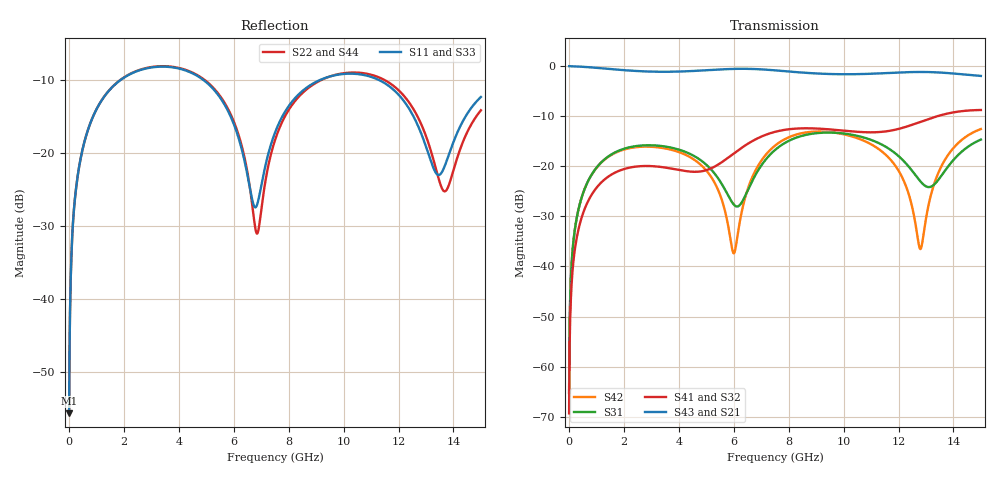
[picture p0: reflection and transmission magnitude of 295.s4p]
! Created with skrf 1.8.0 (http://scikit-rf.org).
# GHz S RI R 50.0
!freq ReS11 ImS11 ReS12 ImS12 ReS13 ImS13
! ReS14 ImS14
! ReS21 ImS21 ReS22 ImS22 ReS23 ImS23
! ReS24 ImS24
! ReS31 ImS31 ReS32 ImS32 ReS33 ImS33
! ReS34 ImS34
! ReS41 ImS41 ReS42 ImS42 ReS43 ImS43
! ReS44 ImS44
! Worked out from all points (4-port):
!   2499 points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, 5 MHz to 15 GHz, reference 50 ohm
!   strongest paths, dB at 5 MHz, 3.476 GHz, 7.19 GHz, 11.1 GHz, 15 GHz:
!     S43: 0.0, -1.1, -0.7, -1.5, -2.0
!     S21: 0.0, -1.1, -0.7, -1.5, -2.0
!     S41: -69.3, -20.2, -13.7, -13.2, -8.8
!     S32: -69.3, -20.2, -13.7, -13.3, -8.8
!     S31: -65.3, -16.0, -18.5, -14.9, -14.7
!     S42: -65.3, -16.4, -17.5, -15.9, -12.6
!   lowest |S11| = -55.6 dB at 5 MHz (marker M1), VSWR 1.00, Z = 50.1 + j0.1 ohm
!   |S11| at or under -10 dB: start of sweep to 1.869 GHz; 4.906 GHz to 9.126 GHz (4.22 GHz wide, 60.2 % of centre); 11.3 GHz to end of sweep
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0.005  0.00132 0.001  0.9987 -0.00257  6.61e-05 0.000542  -6.41e-05 -0.000336
       0.9987 -0.00257  0.00132 0.001  -6.41e-05 -0.000336  6.6e-05 0.000542
       6.61e-05 0.000542  -6.41e-05 -0.000336  0.00132 0.001  0.9987 -0.00257
       -6.41e-05 -0.000336  6.6e-05 0.000542  0.9987 -0.00257  0.00132 0.001
0.3626511  0.0208 0.0766  0.9713 -0.1858  0.0102 0.0375  -0.00823 -0.0231
           0.9713 -0.1858  0.0209 0.0766  -0.00823 -0.0231  0.00967 0.0377
           0.0102 0.0375  -0.00823 -0.0231  0.0208 0.0766  0.9713 -0.1858
           -0.00823 -0.0231  0.00967 0.0377  0.9713 -0.1858  0.0209 0.0766
1.825761  0.2512 0.1847  0.5853 -0.7085  0.1288 0.0637  -0.0894 -0.0121
          0.5853 -0.7085  0.2536 0.1833  -0.0894 -0.0122  0.1213 0.0729
          0.1288 0.0637  -0.0894 -0.0122  0.2511 0.1846  0.5854 -0.7085
          -0.0894 -0.0121  0.1213 0.0729  0.5854 -0.7085  0.2535 0.1833
5.996248  0.0906 -0.1311  -0.839 -0.4181  -0.0346 -0.0232  -0.0552 0.1221
          -0.839 -0.4181  0.0807 -0.1448  -0.0557 0.1218  0.013 0.00362
          -0.0346 -0.0232  -0.0557 0.1218  0.09 -0.1289  -0.8395 -0.418
          -0.0552 0.1221  0.013 0.00362  -0.8395 -0.418  0.0791 -0.1431
6.746561  0.0421 -0.00988  -0.9313 -0.0849  -0.0259 0.0736  -0.0127 0.1824
          -0.9313 -0.0849  0.0272 -0.0211  -0.0134 0.1822  0.0235 0.0826
          -0.0259 0.0736  -0.0134 0.1822  0.0428 -0.00719  -0.9314 -0.0846
          -0.0127 0.1824  0.0235 0.0826  -0.9314 -0.0846  0.0259 -0.0187
12.79908  0.1021 -0.0967  0.7405 0.4637  -0.0544 -0.0452  0.138 -0.2412
          0.7405 0.4637  0.0991 -0.1285  0.141 -0.2392  0.0147 0.00262
          -0.0544 -0.0452  0.141 -0.2392  0.0993 -0.0966  0.7391 0.4667
          0.138 -0.2412  0.0147 0.00262  0.7391 0.4667  0.1009 -0.1253
15  0.2084 0.1244  0.7116 -0.3611  0.1338 0.1275  -0.2154 -0.2942
    0.7116 -0.3611  0.1625 0.111  -0.212 -0.2962  0.21 0.1067
    0.1338 0.1275  -0.212 -0.2962  0.2077 0.1279  0.714 -0.3565
    -0.2154 -0.2942  0.21 0.1067  0.714 -0.3565  0.1622 0.1123
